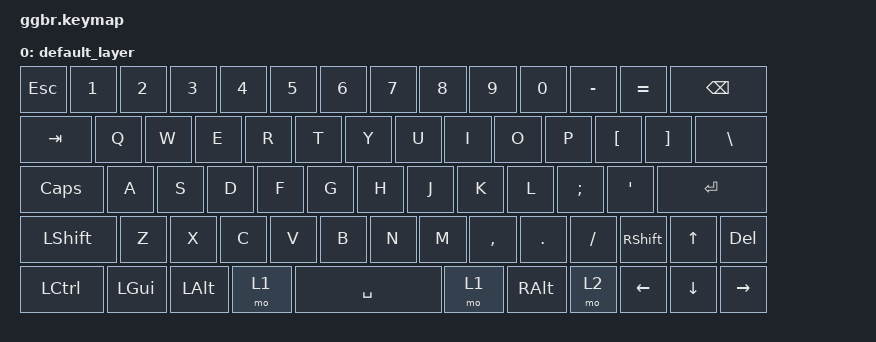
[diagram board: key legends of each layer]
/*
 * Copyright (c) 2025 Naomi
 *
 * SPDX-License-Identifier: MIT
 */

#include <behaviors.dtsi>
#include <dt-bindings/zmk/keys.h>
#include <dt-bindings/zmk/bt.h>
#include <dt-bindings/zmk/rgb.h>
#include <dt-bindings/zmk/outputs.h>
#include <dt-bindings/zmk/ext_power.h>

/ {
    keymap {
        compatible = "zmk,keymap";

        default_layer {
            bindings = <
        &kp ESC    &kp N1    &kp N2    &kp N3  &kp N4     &kp N5  &kp N6    &kp N7  &kp N8     &kp N9    &kp N0     &kp MINUS  &kp EQUAL  &kp BSPC
        &kp TAB    &kp Q     &kp W     &kp E   &kp R      &kp T   &kp Y     &kp U   &kp I      &kp O     &kp P      &kp LBKT   &kp RBKT   &kp BSLH
        &kp CLCK   &kp A     &kp S     &kp D   &kp F      &kp G   &kp H     &kp J   &kp K      &kp L     &kp SEMI   &kp SQT    &kp RET
        &kp LSHFT  &kp Z     &kp X     &kp C   &kp V      &kp B   &kp N     &kp M   &kp COMMA  &kp DOT   &kp FSLH   &kp RSHFT  &kp UP     &kp DEL
        &kp LCTRL  &kp LGUI  &kp LALT  &mo 1   &kp SPACE  &mo 1   &kp RALT  &mo 2   &kp LEFT   &kp DOWN  &kp RIGHT
            >;
        };
    };
};
